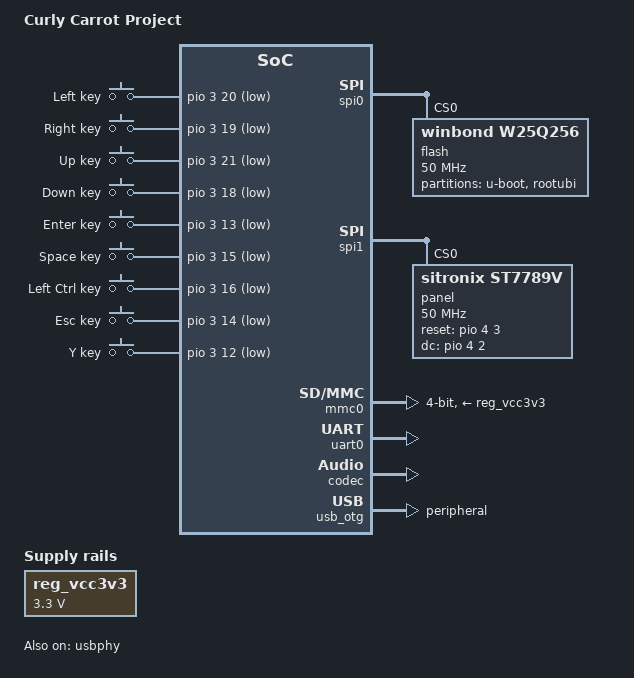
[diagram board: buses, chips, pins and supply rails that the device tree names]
// SPDX-License-Identifier: (GPL-2.0+ OR X11)
/*
 * Copyright 2019 George Hilliard <thirtythreeforty@gmail.com>
 */

/dts-v1/;
#include "suniv-f1c100s.dtsi"

#include <dt-bindings/gpio/gpio.h>

///////////////////////////////////////////////////////////////////////////////////////////////////

/ {
	model = "Curly Carrot Project";
	compatible = "licheepi,licheepi-nano", "allwinner,suniv-f1c100s",
		     "allwinner,suniv";
	
	aliases {
		serial0 = &uart0;
		spi0 = &spi0;
	};

	chosen {
		stdout-path = "serial0:115200n8";
	};

	reg_vcc3v3: vcc3v3 {
		compatible = "regulator-fixed";
		regulator-name = "vcc3v3";
		regulator-min-microvolt = <3300000>;
		regulator-max-microvolt = <3300000>;
	};
	
	
	
	
	
	
	gpio-keys {
        compatible = "gpio-keys";
        autorepeat;

        left-key {
            label = "Left key";
            gpios = <&pio 3 20 GPIO_ACTIVE_LOW>;
            linux,code = <105>; /* KEY_LEFT */
        };
        
        right-key {
            label = "Right key";
            gpios = <&pio 3 19 GPIO_ACTIVE_LOW>;
            linux,code = <106>; /* KEY_RIGHT */
        };
        
        up-key {
            label = "Up key";
            gpios = <&pio 3 21 GPIO_ACTIVE_LOW>;
            linux,code = <103>; /* KEY_UP */
        };
        
        down-key {
            label = "Down key";
            gpios = <&pio 3 18 GPIO_ACTIVE_LOW>;
            linux,code = <108>; /* KEY_DOWN */
        };
        
        
        enter-key {
            label = "Enter key";
            gpios = <&pio 3 13 GPIO_ACTIVE_LOW>;
            linux,code = <28>; /* KEY_ENTER */
        };
    
        space-key {
            label = "Space key";
            gpios = <&pio 3 15 GPIO_ACTIVE_LOW>;
            linux,code = <57>; /* KEY_SPACE */
        };
        
        leftctrl-key {
            label = "Left Ctrl key";
            gpios = <&pio 3 16 GPIO_ACTIVE_LOW>;
            linux,code = <29>; /* KEY_LEFTCTRL */
        };
        
        esc-key {
            label = "Esc key";
            gpios = <&pio 3 14 GPIO_ACTIVE_LOW>;
            linux,code = <1>; /* KEY_ESC */
        };
        
        y-key {
            label = "Y key";
            gpios = <&pio 3 12 GPIO_ACTIVE_LOW>;
            linux,code = <21>; /* KEY_Y */
        };
        
    };
	
	
	
	
	

//	leds {
//		compatible = "gpio-leds";
//		pinctrl-names = "default";
//		pinctrl-0 = <&led_pins>;
//
	//	heartbeat {
	//		label = "Heartbeat";
	//		gpios = <&pio 3 10 GPIO_ACTIVE_LOW>;
	//		default-state = "on";
	//		linux,default-trigger = "heartbeat";
	//	};
	//};

};











&spi0 {
    pinctrl-names = "default";
    pinctrl-0 = <&spi0_pins_a>;
    status = "okay";
    flash: w25q256@0 {
        #address-cells = <1>;
        #size-cells = <1>;
        compatible = "winbond,w25q256", "jedec,spi-nor";
        reg = <0>;
        spi-max-frequency = <50000000>;
        partitions {
            compatible = "fixed-partitions";
            #address-cells = <1>;
            #size-cells = <1>;

            partition@0 {
                label = "u-boot";
                reg = <0x000000 0x40000>;
                //read-only;
            };

            partition@110000 {
                label = "rootubi";
                reg = <0x40000 0xFC0000>;
                //read-only;
            };
        };
    };
};





&spi1 {
    pinctrl-names = "default";
    pinctrl-0 = <&spi1_pins_a>;
    status = "okay";

    panel@0 {
        compatible = "sitronix,st7789v";
        reg = <0>;
	reset-gpios = <&pio 4 3 GPIO_ACTIVE_HIGH>;
	dc-gpios = <&pio 4 2 GPIO_ACTIVE_HIGH>;
        spi-max-frequency = <50000000>;
	buswidth = <8>;
	rotate = <90>;
	txbuflen = <32768>;
	fps=<10>;
	//bgr;
    };
};



&mmc0 {
	vmmc-supply = <&reg_vcc3v3>;
	bus-width = <4>;
	broken-cd;
	status = "okay";
};




&otg_sram {
	status = "okay";
};

&uart0 {
	pinctrl-names = "default";
	pinctrl-0 = <&uart0_pe_pins>;
	status = "okay";
};



&codec {
	allwinner,audio-routing =
		"Headphone", "HP",
		"Headphone", "HPCOM",
		"MIC", "Mic";
	status = "okay";
};



&usb_otg {
	dr_mode = "peripheral";
	status = "okay";
};

&usbphy {
	usb0_id_det-gpio = <&pio 4 5 GPIO_ACTIVE_HIGH>; /* PE5 */
	status = "okay";
};







&pio {
	//led_pins: led-pins {
	//	pins = "PD0";
	//	function = "gpio_out";
	//};

	//reset_gpios: reset-gpios {
	//	pins = "PE5";
	//	function = "gpio_out";
	//};

	//dc_gpios: dc-gpios {
	//	pins = "PE4";
	//	function = "gpio_out";
	//};
};






